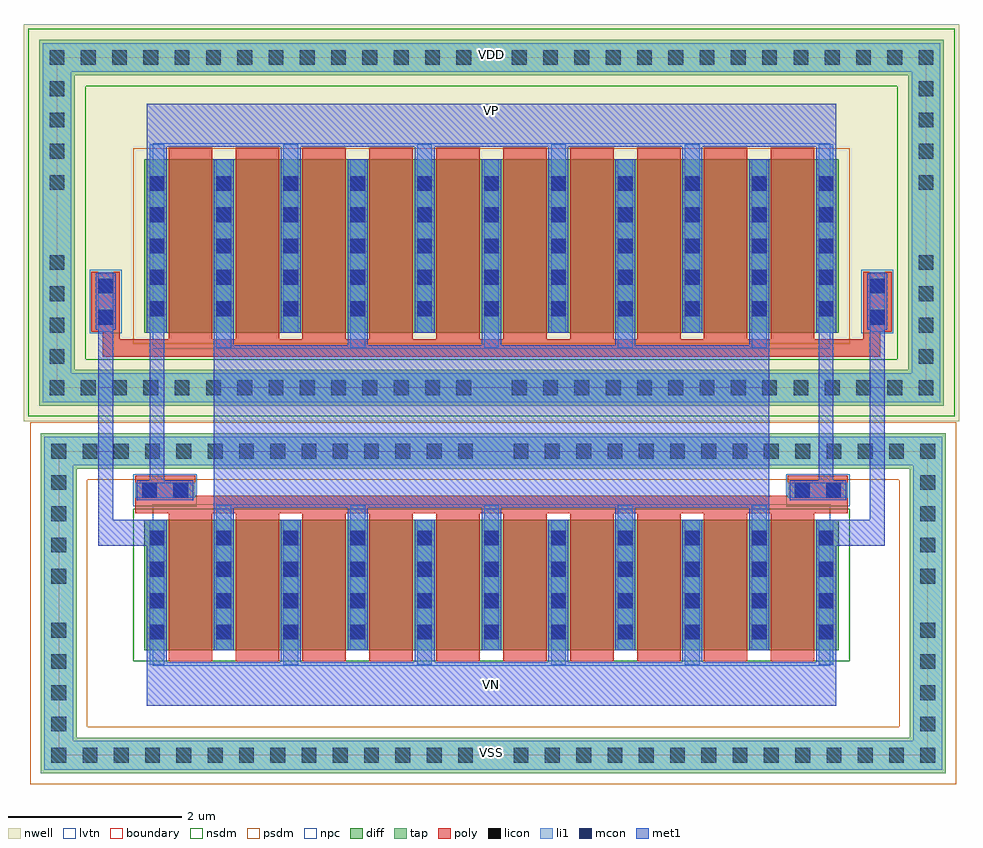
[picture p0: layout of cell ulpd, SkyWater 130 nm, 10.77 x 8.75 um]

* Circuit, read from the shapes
.subckt ulpd VDD VN VP VSS
XM1 n1 VP VN VSS sky130_fd_pr__nfet_01v8_lvt w=1.5 l=0.5 m=10
XM2 n1 VN VP VDD sky130_fd_pr__pfet_01v8_lvt w=2 l=0.5 m=10
.ends

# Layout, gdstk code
from math import pi, radians
import gdstk
lib = gdstk.Library(unit=1e-6, precision=1e-09)
def R(c, l, rs):  # rectangles x0, y0, x1, y1
    for r in rs: c.add(gdstk.rectangle(r[:2], r[2:], *l))
def A(c, l, x, y, w, h, nx, ny, dx, dy):  # array of equal rectangles
    R(c, l, [(x+i*dx, y+j*dy, x+i*dx+w, y+j*dy+h) for i in range(nx) for j in range(ny)])
nwell = (64, 20)
diff = (65, 20)
tap = (65, 44)
poly = (66, 20)
licon = (66, 44)
li1 = (67, 20)
mcon = (67, 44)
met1 = (68, 20)
nsdm = (93, 44)
psdm = (94, 20)
npc = (95, 20)
lvtn = (125, 44)
boundary = (235, 4)

contact_4 = lib.new_cell('Contact$4')
R(contact_4, poly, [(-0.345,-0.165,0.345,0.165)])
R(contact_4, licon, [(-0.265,-0.085,-0.095,0.085), (0.095,-0.085,0.265,0.085)])
R(contact_4, li1, [(-0.345,-0.085,0.345,0.085)])
R(contact_4, npc, [(-0.365,-0.185,0.365,0.185)])

contact_8 = lib.new_cell('Contact$8')
R(contact_8, nwell, [(-5.385,-2.285,5.385,-1.515), (-5.385,-2.285,-4.615,2.285), (4.615,-2.285,5.385,2.285), (-5,-1.9,5,1.9), (-5.385,1.515,5.385,2.285)])
R(contact_8, tap, [(-5.205,-2.105,5.205,-1.695), (-5.205,-2.105,-4.795,2.105), (4.795,-2.105,5.205,2.105), (-5.205,1.695,5.205,2.105)])
A(contact_8, licon, -5.085, -1.985, 0.17, 0.17, 1, 5, 0, 0.36)
A(contact_8, licon, -5.085, -1.985, 0.17, 0.17, 14, 2, 0.36, 3.8)
A(contact_8, licon, 0.235, -1.985, 0.17, 0.17, 14, 2, 0.36, 3.8)
A(contact_8, licon, 4.915, -1.985, 0.17, 0.17, 1, 5, 0, 0.36)
A(contact_8, licon, -5.085, 0.375, 0.17, 0.17, 1, 5, 0, 0.36)
A(contact_8, licon, 4.915, 0.375, 0.17, 0.17, 1, 5, 0, 0.36)
R(contact_8, li1, [(-5.165,-2.065,5.165,-1.735), (-5.165,-2.065,-4.835,2.065), (4.835,-2.065,5.165,2.065), (-5.165,1.735,5.165,2.065)])
R(contact_8, nsdm, [(-5.33,-2.23,5.33,-1.57), (-5.33,-2.23,-4.67,2.23), (4.67,-2.23,5.33,2.23), (-5.33,1.57,5.33,2.23)])
R(contact_8, boundary, [(-5,-1.9,5,1.9)])

contact_9 = lib.new_cell('Contact$9')
R(contact_9, tap, [(-5.205,-1.955,5.205,-1.545), (-5.205,-1.955,-4.795,1.955), (4.795,-1.955,5.205,1.955), (-5.205,1.545,5.205,1.955)])
A(contact_9, licon, -5.085, -1.835, 0.17, 0.17, 1, 5, 0, 0.36)
A(contact_9, licon, -5.085, -1.835, 0.17, 0.17, 14, 2, 0.36, 3.5)
A(contact_9, licon, 0.235, -1.835, 0.17, 0.17, 14, 2, 0.36, 3.5)
A(contact_9, licon, 4.915, -1.835, 0.17, 0.17, 1, 5, 0, 0.36)
A(contact_9, licon, -5.085, 0.225, 0.17, 0.17, 1, 5, 0, 0.36)
A(contact_9, licon, 4.915, 0.225, 0.17, 0.17, 1, 5, 0, 0.36)
R(contact_9, li1, [(-5.165,-1.915,5.165,-1.585), (-5.165,-1.915,-4.835,1.915), (4.835,-1.915,5.165,1.915), (-5.165,1.585,5.165,1.915)])
R(contact_9, psdm, [(-5.33,-2.08,5.33,-1.42), (-5.33,-2.08,-4.67,2.08), (4.67,-2.08,5.33,2.08), (-5.33,1.42,5.33,2.08)])
R(contact_9, boundary, [(-5,-1.75,5,1.75)])

mosfet_3 = lib.new_cell('MOSFET$3')
A(mosfet_3, diff, 0.77, 0, 0.77, 1.5, 8, 1, 0.77, 0)
R(mosfet_3, diff, [(-0.145,0,0.77,1.5), (6.93,0,7.845,1.5)])
A(mosfet_3, poly, 0.135, -0.13, 0.5, 1.705, 10, 1, 0.77, 0)
R(mosfet_3, poly, [(0.135,1.575,7.565,1.775)])
A(mosfet_3, licon, -0.085, 0.125, 0.17, 0.17, 11, 4, 0.77, 0.36)
A(mosfet_3, li1, -0.085, -0.17, 0.17, 1.67, 6, 1, 1.54, 0)
A(mosfet_3, li1, -0.085, 0, 0.17, 1.5, 11, 1, 0.77, 0)
A(mosfet_3, li1, 0.685, 0, 0.17, 1.67, 5, 1, 1.54, 0)
A(mosfet_3, mcon, -0.085, 0.125, 0.17, 0.17, 11, 4, 0.77, 0.36)
A(mosfet_3, met1, -0.115, -0.14, 0.23, 1.64, 6, 1, 1.54, 0)
A(mosfet_3, met1, -0.115, 0, 0.23, 1.5, 11, 1, 0.77, 0)
A(mosfet_3, met1, 0.655, 0, 0.23, 1.64, 5, 1, 1.54, 0)
R(mosfet_3, met1, [(-0.115,-0.64,7.815,-0.14), (0.655,1.64,7.045,2.14)])
R(mosfet_3, nsdm, [(-0.27,-0.125,7.97,1.625)])
R(mosfet_3, lvtn, [(-0.045,-0.18,7.745,1.68)])
R(mosfet_3, boundary, [(0,0,7.7,1.5)])

mosfet_2 = lib.new_cell('MOSFET$2')
R(mosfet_2, nwell, [(-0.325,-0.18,8.025,2.18)])
A(mosfet_2, diff, 0.77, 0, 0.77, 2, 8, 1, 0.77, 0)
R(mosfet_2, diff, [(-0.145,0,0.77,2), (6.93,0,7.845,2)])
A(mosfet_2, poly, 0.135, -0.13, 0.5, 2.205, 10, 1, 0.77, 0)
R(mosfet_2, poly, [(0.135,2.075,7.565,2.275)])
A(mosfet_2, licon, -0.085, 0.195, 0.17, 0.17, 11, 5, 0.77, 0.36)
A(mosfet_2, li1, -0.085, -0.17, 0.17, 2.17, 6, 1, 1.54, 0)
A(mosfet_2, li1, -0.085, 0, 0.17, 2, 11, 1, 0.77, 0)
A(mosfet_2, li1, 0.685, 0, 0.17, 2.17, 5, 1, 1.54, 0)
A(mosfet_2, mcon, -0.085, 0.195, 0.17, 0.17, 11, 5, 0.77, 0.36)
A(mosfet_2, met1, -0.115, -0.14, 0.23, 2.14, 6, 1, 1.54, 0)
A(mosfet_2, met1, -0.115, 0, 0.23, 2, 11, 1, 0.77, 0)
A(mosfet_2, met1, 0.655, 0, 0.23, 2.14, 5, 1, 1.54, 0)
R(mosfet_2, met1, [(-0.115,-0.64,7.815,-0.14), (0.655,2.14,7.045,2.64)])
R(mosfet_2, psdm, [(-0.27,-0.125,7.97,2.125)])
R(mosfet_2, lvtn, [(-0.045,-0.18,7.745,2.18)])
R(mosfet_2, boundary, [(0,0,7.7,2)])

contact = lib.new_cell('Contact')
R(contact, li1, [(-0.265,-0.085,0.265,0.085)])
R(contact, mcon, [(-0.265,-0.085,-0.095,0.085), (0.095,-0.085,0.265,0.085)])
R(contact, met1, [(-0.325,-0.115,0.325,0.115)])

ulpd = lib.new_cell('ulpd')
R(ulpd, poly, [(-4.1,-1.405,-3.41,-1.05), (3.41,-1.405,4.1,-1.05)])
R(ulpd, met1, [(-4.47,-1.78,-3.935,-1.48), (3.935,-1.78,4.47,-1.48), (-3.935,-1.055,-3.765,0.855), (3.765,-1.055,3.935,0.855), (-3.195,-0.84,3.195,0.03)])
ulpd.add(gdstk.FlexPath([(-3.605,0.495),(-4.375,0.495),(-4.375,0.805)], 0.2, ends="flush", simple_path=True, layer=66, datatype=20))  # poly
ulpd.add(gdstk.FlexPath([(3.605,0.495),(4.375,0.495),(4.375,0.805)], 0.2, ends="flush", simple_path=True, layer=66, datatype=20))  # poly
ulpd.add(gdstk.FlexPath([(4.44,0.745),(4.44,-1.78)], 0.17, ends="flush", simple_path=True, layer=68, datatype=20))  # met1
ulpd.add(gdstk.FlexPath([(-4.44,0.745),(-4.44,-1.78)], 0.17, ends="flush", simple_path=True, layer=68, datatype=20))  # met1
ulpd.add(gdstk.Reference(contact_4, (4.44,1.03), rotation=pi/2, x_reflection=True))
ulpd.add(gdstk.Reference(contact_8, (0,1.94)))
ulpd.add(gdstk.Reference(contact_9, (0.02,-2.44), x_reflection=True))
ulpd.add(gdstk.Reference(contact_4, (-3.755,-1.14)))
ulpd.add(gdstk.Reference(contact_4, (3.755,-1.14)))
ulpd.add(gdstk.Reference(mosfet_3, (-3.85,-2.98)))
ulpd.add(gdstk.Reference(mosfet_2, (-3.85,2.67), x_reflection=True))
ulpd.add(gdstk.Reference(contact_4, (-4.44,1.03), rotation=pi/2))
ulpd.add(gdstk.Reference(contact, (4.44,1.03), rotation=pi/2, x_reflection=True))
ulpd.add(gdstk.Reference(contact, (-3.755,-1.14)))
ulpd.add(gdstk.Reference(contact, (3.755,-1.14)))
ulpd.add(gdstk.Reference(contact, (-4.44,1.03), rotation=pi/2))
ulpd.add(gdstk.Label('VDD', (0,3.875), layer=67, texttype=5))
ulpd.add(gdstk.Label('VSS', (0,-4.155), layer=67, texttype=5))
ulpd.add(gdstk.Label('VP', (0,3.225), layer=68, texttype=5))
ulpd.add(gdstk.Label('VN', (0,-3.38), layer=68, texttype=5))

lib.write_gds('ulpd.gds')
